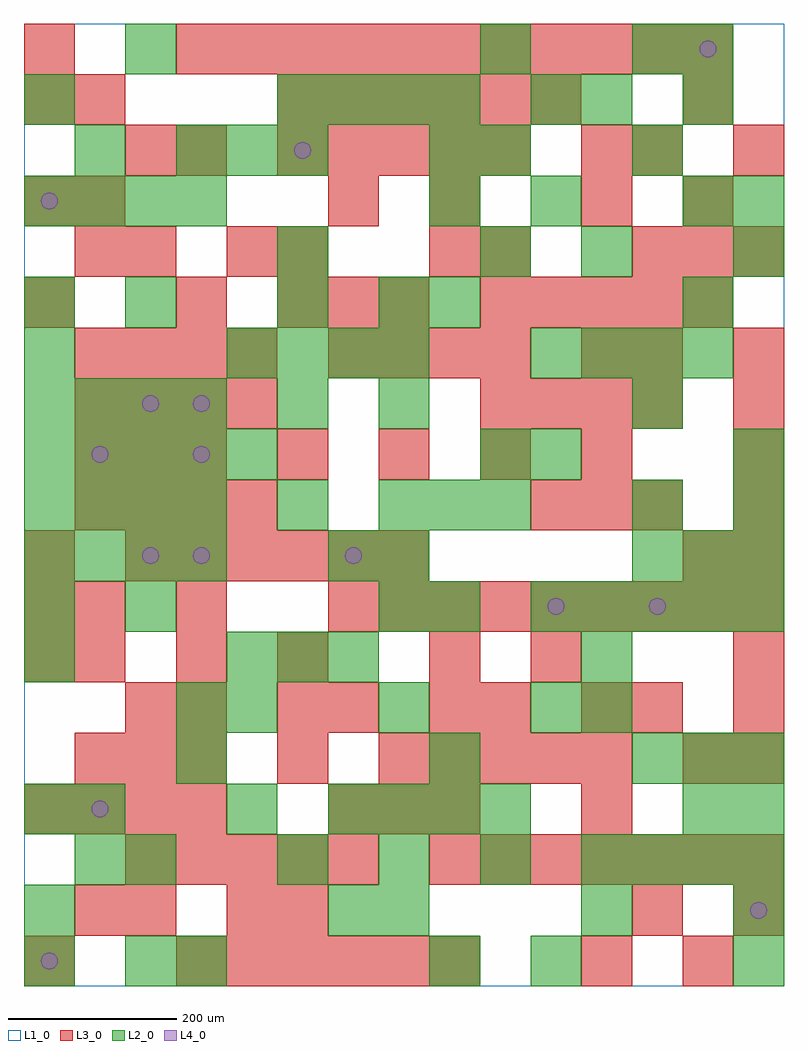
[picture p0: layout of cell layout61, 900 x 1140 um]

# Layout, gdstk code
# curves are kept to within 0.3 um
import gdstk
lib = gdstk.Library(unit=1e-6, precision=1e-09)
def R(c, l, rs):  # rectangles x0, y0, x1, y1
    for r in rs: c.add(gdstk.rectangle(r[:2], r[2:], *l))
def A(c, l, x, y, w, h, nx, ny, dx, dy):  # array of equal rectangles
    R(c, l, [(x+i*dx, y+j*dy, x+i*dx+w, y+j*dy+h) for i in range(nx) for j in range(ny)])
def P(c, l, *ps):  # polygons
    for p in ps: c.add(gdstk.Polygon(p, *l))
L1_0 = (1, 0)
L2_0 = (2, 0)
L3_0 = (3, 0)
L4_0 = (4, 0)

layout61 = lib.new_cell('layout61')
R(layout61, L1_0, [(0,0,900,1140)])
A(layout61, L2_0, 300, 120, 60, 60, 4, 1, 120, 0)
A(layout61, L2_0, 720, 120, 60, 60, 3, 2, 60, 120)
A(layout61, L2_0, 360, 180, 60, 60, 4, 1, 60, 0)
A(layout61, L2_0, 240, 300, 60, 60, 3, 1, 180, 0)
A(layout61, L2_0, 240, 360, 60, 60, 3, 1, 60, 0)
A(layout61, L2_0, 600, 420, 60, 60, 5, 1, 60, 0)
A(layout61, L2_0, 0, 480, 60, 60, 4, 2, 60, 60)
A(layout61, L2_0, 720, 480, 60, 60, 3, 1, 60, 0)
A(layout61, L2_0, 300, 540, 60, 60, 1, 3, 0, 120)
A(layout61, L2_0, 420, 540, 60, 60, 3, 1, 60, 0)
A(layout61, L2_0, 0, 600, 60, 60, 5, 1, 60, 0)
A(layout61, L2_0, 0, 660, 60, 60, 4, 2, 60, 240)
A(layout61, L2_0, 240, 720, 60, 60, 4, 1, 60, 0)
A(layout61, L2_0, 600, 720, 60, 60, 4, 1, 60, 0)
A(layout61, L2_0, 780, 780, 60, 60, 1, 3, 0, 120)
A(layout61, L2_0, 540, 840, 60, 60, 1, 3, 0, 120)
A(layout61, L2_0, 180, 960, 60, 60, 3, 1, 60, 0)
A(layout61, L2_0, 300, 1020, 60, 60, 4, 1, 60, 0)
R(layout61, L2_0, [(0,0,60,60), (120,0,180,60), (180,0,240,60), (480,0,540,60), (600,0,660,60), (840,0,900,60), (0,60,60,120), (360,60,420,120), (420,60,480,120), (660,60,720,120), (840,60,900,120), (60,120,120,180), (120,120,180,180), (0,180,60,240), (60,180,120,240), (240,180,300,240), (780,180,840,240), (840,180,900,240), (180,240,240,300), (480,240,540,300), (180,300,240,360), (660,300,720,360), (0,360,60,420), (660,360,720,420), (0,420,60,480), (120,420,180,480), (420,420,480,480), (480,420,540,480), (360,480,420,540), (420,480,480,540), (720,540,780,600), (840,540,900,600), (540,600,600,660), (600,600,660,660), (840,600,900,660), (420,660,480,720), (720,660,780,720), (0,720,60,780), (0,780,60,840), (120,780,180,840), (420,780,480,840), (480,780,540,840), (300,840,360,900), (660,840,720,900), (840,840,900,900), (480,900,540,960), (600,900,660,960), (840,900,900,960), (60,960,120,1020), (480,960,540,1020), (720,960,780,1020), (0,1020,60,1080), (600,1020,660,1080), (660,1020,720,1080), (120,1080,180,1140), (720,1080,780,1140), (780,1080,840,1140)])
A(layout61, L3_0, 180, 0, 60, 60, 6, 1, 60, 0)
A(layout61, L3_0, 780, 0, 60, 60, 1, 3, 0, 240)
A(layout61, L3_0, 120, 120, 60, 60, 5, 1, 60, 0)
A(layout61, L3_0, 480, 120, 60, 60, 7, 1, 60, 0)
A(layout61, L3_0, 0, 180, 60, 60, 4, 1, 60, 0)
A(layout61, L3_0, 360, 180, 60, 60, 3, 1, 60, 0)
A(layout61, L3_0, 60, 240, 60, 60, 3, 2, 60, 360)
A(layout61, L3_0, 420, 240, 60, 60, 5, 1, 60, 0)
A(layout61, L3_0, 840, 240, 60, 60, 1, 3, 0, 60)
A(layout61, L3_0, 0, 360, 60, 60, 1, 3, 0, 60)
A(layout61, L3_0, 60, 360, 60, 60, 3, 1, 120, 0)
A(layout61, L3_0, 360, 420, 60, 60, 9, 1, 60, 0)
A(layout61, L3_0, 120, 480, 60, 60, 6, 1, 60, 0)
A(layout61, L3_0, 840, 480, 60, 60, 1, 5, 0, 60)
A(layout61, L3_0, 60, 540, 60, 60, 4, 2, 60, 120)
A(layout61, L3_0, 600, 540, 60, 60, 3, 1, 60, 0)
A(layout61, L3_0, 300, 600, 60, 60, 4, 1, 120, 0)
A(layout61, L3_0, 540, 660, 60, 60, 4, 1, 60, 0)
A(layout61, L3_0, 60, 720, 60, 60, 4, 1, 60, 0)
A(layout61, L3_0, 360, 720, 60, 60, 4, 1, 60, 0)
A(layout61, L3_0, 0, 780, 60, 60, 1, 3, 0, 120)
A(layout61, L3_0, 300, 780, 60, 60, 3, 1, 60, 0)
A(layout61, L3_0, 540, 780, 60, 60, 5, 1, 60, 0)
A(layout61, L3_0, 720, 840, 60, 60, 3, 1, 60, 0)
A(layout61, L3_0, 300, 960, 60, 60, 5, 1, 60, 0)
A(layout61, L3_0, 300, 1020, 60, 60, 6, 1, 60, 0)
A(layout61, L3_0, 180, 1080, 60, 60, 11, 1, 60, 0)
R(layout61, L3_0, [(0,0,60,60), (660,0,720,60), (60,60,120,120), (120,60,180,120), (240,60,300,120), (300,60,360,120), (720,60,780,120), (840,60,900,120), (660,180,720,240), (300,240,360,300), (120,300,180,360), (180,300,240,360), (300,300,360,360), (360,300,420,360), (480,300,540,360), (540,300,600,360), (660,300,720,360), (720,300,780,360), (480,360,540,420), (600,360,660,420), (60,420,120,480), (180,420,240,480), (660,720,720,780), (720,720,780,780), (180,780,240,840), (60,840,120,900), (120,840,180,900), (240,840,300,900), (300,840,360,900), (480,840,540,900), (540,840,600,900), (60,900,120,960), (360,900,420,960), (480,900,540,960), (660,900,720,960), (780,900,840,960), (120,960,180,1020), (180,960,240,1020), (660,960,720,1020), (720,960,780,1020), (840,960,900,1020), (60,1020,120,1080), (780,1020,840,1080), (0,1080,60,1140)])
P(layout61, L4_0, [(40,30),(39.239,33.827),(37.071,37.071),(33.827,39.239),(30,40),(26.173,39.239),(22.929,37.071),(20.761,33.827),(20,30),(20.761,26.173),(22.929,22.929),(26.173,20.761),(30,20),(33.827,20.761),(37.071,22.929),(39.239,26.173)],
  [(40,930),(39.239,933.827),(37.071,937.071),(33.827,939.239),(30,940),(26.173,939.239),(22.929,937.071),(20.761,933.827),(20,930),(20.761,926.173),(22.929,922.929),(26.173,920.761),(30,920),(33.827,920.761),(37.071,922.929),(39.239,926.173)],
  [(100,210),(99.239,213.827),(97.071,217.071),(93.827,219.239),(90,220),(86.173,219.239),(82.929,217.071),(80.761,213.827),(80,210),(80.761,206.173),(82.929,202.929),(86.173,200.761),(90,200),(93.827,200.761),(97.071,202.929),(99.239,206.173)],
  [(100,630),(99.239,633.827),(97.071,637.071),(93.827,639.239),(90,640),(86.173,639.239),(82.929,637.071),(80.761,633.827),(80,630),(80.761,626.173),(82.929,622.929),(86.173,620.761),(90,620),(93.827,620.761),(97.071,622.929),(99.239,626.173)],
  [(160,510),(159.239,513.827),(157.071,517.071),(153.827,519.239),(150,520),(146.173,519.239),(142.929,517.071),(140.761,513.827),(140,510),(140.761,506.173),(142.929,502.929),(146.173,500.761),(150,500),(153.827,500.761),(157.071,502.929),(159.239,506.173)],
  [(160,690),(159.239,693.827),(157.071,697.071),(153.827,699.239),(150,700),(146.173,699.239),(142.929,697.071),(140.761,693.827),(140,690),(140.761,686.173),(142.929,682.929),(146.173,680.761),(150,680),(153.827,680.761),(157.071,682.929),(159.239,686.173)],
  [(220,510),(219.239,513.827),(217.071,517.071),(213.827,519.239),(210,520),(206.173,519.239),(202.929,517.071),(200.761,513.827),(200,510),(200.761,506.173),(202.929,502.929),(206.173,500.761),(210,500),(213.827,500.761),(217.071,502.929),(219.239,506.173)],
  [(220,630),(219.239,633.827),(217.071,637.071),(213.827,639.239),(210,640),(206.173,639.239),(202.929,637.071),(200.761,633.827),(200,630),(200.761,626.173),(202.929,622.929),(206.173,620.761),(210,620),(213.827,620.761),(217.071,622.929),(219.239,626.173)],
  [(220,690),(219.239,693.827),(217.071,697.071),(213.827,699.239),(210,700),(206.173,699.239),(202.929,697.071),(200.761,693.827),(200,690),(200.761,686.173),(202.929,682.929),(206.173,680.761),(210,680),(213.827,680.761),(217.071,682.929),(219.239,686.173)],
  [(340,990),(339.239,993.827),(337.071,997.071),(333.827,999.239),(330,1000),(326.173,999.239),(322.929,997.071),(320.761,993.827),(320,990),(320.761,986.173),(322.929,982.929),(326.173,980.761),(330,980),(333.827,980.761),(337.071,982.929),(339.239,986.173)],
  [(400,510),(399.239,513.827),(397.071,517.071),(393.827,519.239),(390,520),(386.173,519.239),(382.929,517.071),(380.761,513.827),(380,510),(380.761,506.173),(382.929,502.929),(386.173,500.761),(390,500),(393.827,500.761),(397.071,502.929),(399.239,506.173)],
  [(640,450),(639.239,453.827),(637.071,457.071),(633.827,459.239),(630,460),(626.173,459.239),(622.929,457.071),(620.761,453.827),(620,450),(620.761,446.173),(622.929,442.929),(626.173,440.761),(630,440),(633.827,440.761),(637.071,442.929),(639.239,446.173)],
  [(760,450),(759.239,453.827),(757.071,457.071),(753.827,459.239),(750,460),(746.173,459.239),(742.929,457.071),(740.761,453.827),(740,450),(740.761,446.173),(742.929,442.929),(746.173,440.761),(750,440),(753.827,440.761),(757.071,442.929),(759.239,446.173)],
  [(820,1110),(819.239,1113.827),(817.071,1117.071),(813.827,1119.239),(810,1120),(806.173,1119.239),(802.929,1117.071),(800.761,1113.827),(800,1110),(800.761,1106.173),(802.929,1102.929),(806.173,1100.761),(810,1100),(813.827,1100.761),(817.071,1102.929),(819.239,1106.173)],
  [(880,90),(879.239,93.827),(877.071,97.071),(873.827,99.239),(870,100),(866.173,99.239),(862.929,97.071),(860.761,93.827),(860,90),(860.761,86.173),(862.929,82.929),(866.173,80.761),(870,80),(873.827,80.761),(877.071,82.929),(879.239,86.173)])

lib.write_gds('layout61.gds')
